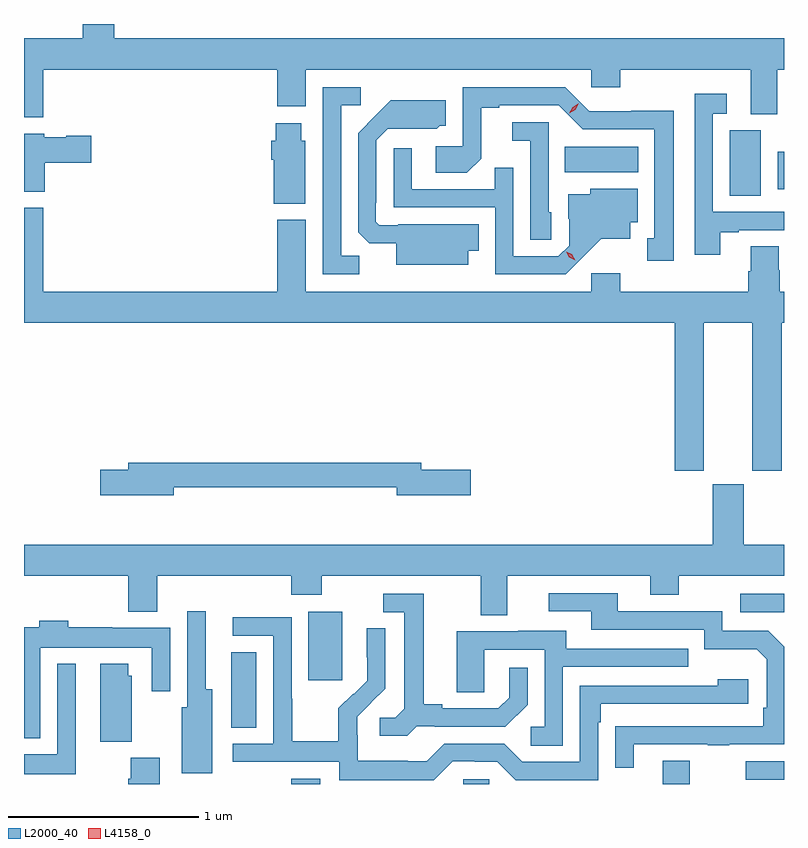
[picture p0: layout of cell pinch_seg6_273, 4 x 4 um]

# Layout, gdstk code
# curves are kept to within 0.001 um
import gdstk
lib = gdstk.Library(unit=1e-6, precision=1e-09)
def R(c, l, rs):  # rectangles x0, y0, x1, y1
    for r in rs: c.add(gdstk.rectangle(r[:2], r[2:], *l))
def P(c, l, *ps):  # polygons
    for p in ps: c.add(gdstk.Polygon(p, *l))
L2000_40 = (2000, 40)
L4158_0 = (4158, 0)

pinch_seg6_273 = lib.new_cell('pinch_seg6_273')
R(pinch_seg6_273, L2000_40, [(878.075,983.536,878.227,983.563), (878.979,983.536,879.117,983.562), (880.031,983.536,880.171,983.659), (880.467,983.559,880.668,983.655), (877.76,983.833,877.891,984.23), (878.165,984.081,878.344,984.442), (880.437,984.441,880.668,984.537), (880.382,986.632,880.546,986.976), (880.634,986.667,880.668,986.863), (879.514,986.756,879.901,986.89)])
P(pinch_seg6_273, L2000_40, [(876.77,987.296),(878,987.296),(878,987.102),(878.152,987.102),(878.152,987.296),(879.654,987.296),(879.654,987.203),(879.806,987.203),(879.806,987.296),(880.493,987.296),(880.493,987.061),(880.633,987.061),(880.633,987.296),(880.668,987.296),(880.668,987.46),(877.142,987.46),(877.142,987.536),(876.977,987.536),(876.977,987.46),(876.668,987.46),(876.668,987.044),(876.77,987.044)],
  [(878.433,986.315),(878.337,986.315),(878.337,987.108),(878.44,987.108),(878.44,987.204),(878.241,987.204),(878.241,986.22),(878.433,986.22)],
  [(880.087,987.08),(879.864,987.08),(879.864,987.078),(879.642,987.078),(879.516,987.204),(878.976,987.204),(878.976,986.892),(878.835,986.892),(878.835,986.752),(878.999,986.752),(879.075,986.828),(879.075,987.096),(879.169,987.096),(879.169,987.108),(879.483,987.108),(879.609,986.982),(879.986,986.982),(879.986,986.409),(879.947,986.409),(879.947,986.289),(880.087,986.289)],
  [(880.333,986.439),(880.429,986.439),(880.429,986.451),(880.668,986.451),(880.668,986.547),(880.293,986.547),(880.293,987.063),(880.366,987.063),(880.366,987.169),(880.197,987.169),(880.197,986.322),(880.333,986.322)],
  [(879.007,986.342),(879.062,986.342),(879.062,986.482),(878.638,986.482),(878.638,986.478),(878.538,986.478),(878.52,986.496),(878.52,986.596),(878.523,986.596),(878.523,986.925),(878.583,986.985),(878.84,986.984),(878.856,987),(878.887,987),(878.887,987.136),(878.599,987.136),(878.427,986.962),(878.427,986.44),(878.486,986.381),(878.627,986.381),(878.627,986.27),(879.007,986.27)],
  [(879.444,986.544),(879.429,986.544),(879.429,987.018),(879.237,987.018),(879.237,986.921),(879.333,986.921),(879.333,986.401),(879.444,986.401)],
  [(878.149,986.922),(878.128,986.922),(878.128,987.013),(877.994,987.013),(877.994,986.922),(877.97,986.922),(877.97,986.822),(877.982,986.822),(877.982,986.591),(878.149,986.591)],
  [(876.778,986.807),(877.021,986.807),(877.021,986.949),(876.891,986.949),(876.891,986.941),(876.774,986.941),(876.774,986.959),(876.668,986.959),(876.668,986.654),(876.778,986.654)],
  [(879.604,986.303),(879.707,986.405),(879.859,986.405),(879.859,986.492),(879.898,986.492),(879.898,986.668),(879.648,986.668),(879.648,986.641),(879.533,986.641),(879.533,986.512),(879.537,986.512),(879.537,986.37),(879.48,986.313),(879.243,986.313),(879.243,986.78),(879.145,986.78),(879.145,986.667),(878.709,986.667),(878.709,986.881),(878.613,986.881),(878.613,986.571),(879.147,986.571),(879.147,986.22),(879.52,986.22)],
  [(879.806,986.224),(879.654,986.224),(879.654,986.128),(878.152,986.128),(878.152,986.506),(878,986.506),(878,986.128),(876.77,986.128),(876.77,986.569),(876.668,986.569),(876.668,985.964),(880.094,985.964),(880.094,985.185),(880.246,985.185),(880.246,985.964),(880.502,985.964),(880.502,985.185),(880.655,985.185),(880.655,985.964),(880.668,985.964),(880.668,986.128),(880.646,986.128),(880.646,986.241),(880.641,986.241),(880.641,986.366),(880.493,986.366),(880.493,986.234),(880.481,986.234),(880.481,986.128),(879.806,986.128)],
  [(877.456,985.098),(878.63,985.098),(878.63,985.055),(879.019,985.055),(879.019,985.19),(878.758,985.19),(878.758,985.226),(877.217,985.226),(877.217,985.19),(877.068,985.19),(877.068,985.055),(877.456,985.055)],
  [(879.211,984.632),(879.965,984.632),(879.965,984.533),(880.113,984.533),(880.113,984.632),(880.668,984.632),(880.668,984.796),(880.456,984.796),(880.456,985.113),(880.292,985.113),(880.292,984.796),(876.668,984.796),(876.668,984.632),(877.217,984.632),(877.217,984.443),(877.369,984.443),(877.369,984.632),(878.075,984.632),(878.075,984.533),(878.235,984.533),(878.235,984.632),(879.071,984.632),(879.071,984.424),(879.211,984.424)],
  [(879.877,983.745),(880.267,983.745),(880.267,983.74),(880.379,983.74),(880.379,983.745),(880.668,983.745),(880.668,984.258),(880.584,984.342),(880.344,984.342),(880.344,984.444),(879.793,984.444),(879.793,984.54),(879.429,984.54),(879.429,984.444),(879.653,984.444),(879.653,984.348),(880.248,984.348),(880.248,984.245),(880.525,984.245),(880.578,984.192),(880.578,983.938),(880.558,983.938),(880.558,983.841),(879.781,983.84),(879.781,983.622),(879.877,983.622)],
  [(878.736,983.841),(878.83,983.841),(878.83,983.838),(879.202,983.838),(879.318,983.954),(879.318,984.148),(879.221,984.148),(879.221,983.991),(879.164,983.934),(878.869,983.934),(878.869,983.957),(878.773,983.957),(878.773,984.537),(878.559,984.537),(878.559,984.441),(878.669,984.441),(878.669,983.933),(878.622,983.886),(878.541,983.886),(878.541,983.789),(878.684,983.789)],
  [(877.66,984.034),(877.624,984.034),(877.624,984.445),(877.527,984.445),(877.527,983.94),(877.499,983.94),(877.499,983.592),(877.66,983.592)],
  [(878.925,983.655),(879.041,983.655),(879.041,983.652),(879.159,983.652),(879.255,983.556),(879.69,983.556),(879.69,983.861),(879.703,983.861),(879.703,983.958),(880.48,983.958),(880.48,984.088),(880.319,984.088),(880.319,984.054),(879.594,984.054),(879.594,983.652),(879.291,983.652),(879.195,983.748),(878.88,983.748),(878.787,983.655),(878.687,983.655),(878.687,983.659),(878.424,983.659),(878.424,983.793),(878.422,983.793),(878.422,983.89),(878.568,984.038),(878.568,984.356),(878.472,984.356),(878.472,984.202),(878.474,984.202),(878.474,984.08),(878.403,984.009),(878.4,984.012),(878.323,983.935),(878.323,983.761),(878.079,983.761),(878.079,983.984),(878.076,983.984),(878.076,984.414),(877.767,984.414),(877.767,984.315),(877.98,984.315),(877.98,983.748),(877.767,983.748),(877.767,983.652),(878.328,983.652),(878.328,983.555),(878.825,983.555)],
  [(876.753,984.254),(877.341,984.254),(877.341,984.024),(877.437,984.024),(877.437,984.358),(877.133,984.358),(877.133,984.361),(876.902,984.361),(876.902,984.394),(876.749,984.394),(876.749,984.361),(876.668,984.361),(876.668,983.777),(876.753,983.777)],
  [(879.504,984.153),(880.163,984.153),(880.163,984.249),(879.523,984.249),(879.523,984.343),(879.269,984.343),(879.269,984.339),(878.945,984.339),(878.945,984.019),(879.09,984.019),(879.09,984.243),(879.408,984.243),(879.408,983.838),(879.336,983.838),(879.336,983.737),(879.504,983.737)],
  [(876.94,984.169),(876.843,984.169),(876.843,983.692),(876.668,983.692),(876.668,983.588),(876.94,983.588)],
  [(877.234,984.105),(877.216,984.105),(877.216,984.169),(877.07,984.169),(877.07,983.758),(877.234,983.758)],
  [(877.382,983.673),(877.229,983.673),(877.229,983.564),(877.217,983.564),(877.217,983.536),(877.382,983.536)])
P(pinch_seg6_273, L4158_0, [(879.538,987.066),(879.538,987.066),(879.556,987.099),(879.587,987.118),(879.588,987.118),(879.588,987.118),(879.57,987.085),(879.538,987.066)],
  [(879.569,986.292),(879.538,986.308),(879.521,986.338),(879.521,986.338),(879.522,986.338),(879.552,986.323),(879.57,986.293),(879.57,986.292)])

lib.write_gds('pinch_seg6_273.gds')
